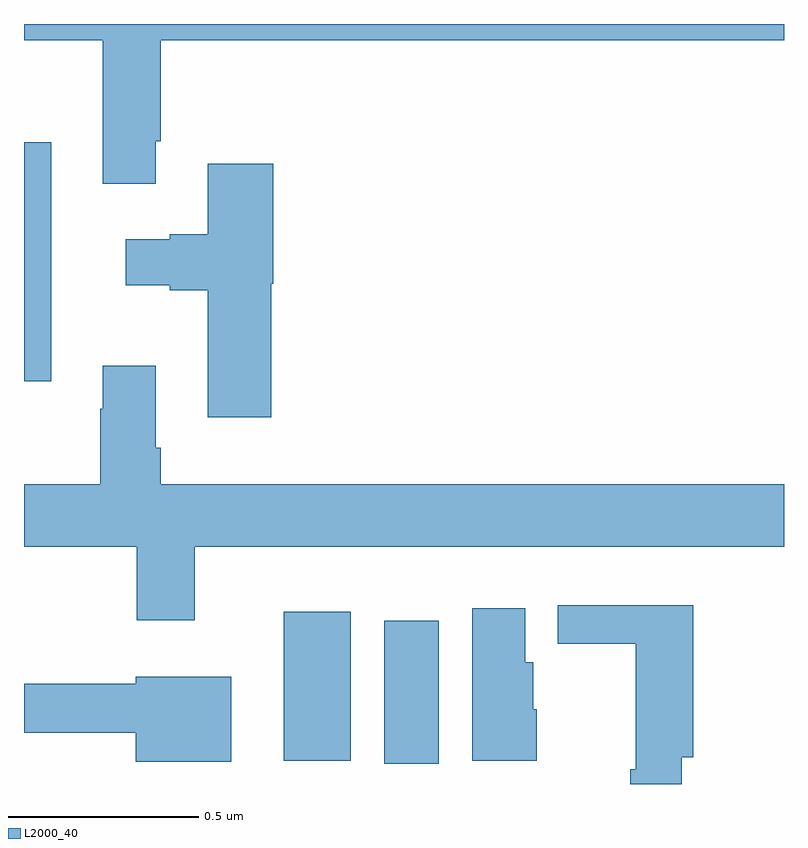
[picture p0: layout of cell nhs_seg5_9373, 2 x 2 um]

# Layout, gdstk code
import gdstk
lib = gdstk.Library(unit=1e-6, precision=1e-09)
def R(c, l, rs):  # rectangles x0, y0, x1, y1
    for r in rs: c.add(gdstk.rectangle(r[:2], r[2:], *l))
def P(c, l, *ps):  # polygons
    for p in ps: c.add(gdstk.Polygon(p, *l))
L2000_40 = (2000, 40)

nhs_seg5_9373 = lib.new_cell('nhs_seg5_9373')
R(nhs_seg5_9373, L2000_40, [(233.948,858.852,234.091,859.228), (233.684,858.86,233.86,859.252), (233,859.859,233.072,860.488)])
P(nhs_seg5_9373, L2000_40, [(235,860.799),(233,860.799),(233,860.756),(233.207,860.756),(233.207,860.379),(233.347,860.379),(233.347,860.491),(233.36,860.491),(233.36,860.756),(235,860.756)],
  [(233.651,860.115),(233.656,860.115),(233.656,860.431),(233.483,860.431),(233.483,860.246),(233.384,860.246),(233.384,860.233),(233.268,860.233),(233.268,860.111),(233.384,860.111),(233.384,860.099),(233.483,860.099),(233.483,859.764),(233.651,859.764)],
  [(233.449,859.424),(235,859.424),(235,859.588),(233.36,859.588),(233.36,859.684),(233.347,859.684),(233.347,859.9),(233.207,859.9),(233.207,859.787),(233.2,859.787),(233.2,859.588),(233,859.588),(233,859.424),(233.297,859.424),(233.297,859.23),(233.449,859.23)],
  [(234.731,858.869),(234.761,858.869),(234.761,859.27),(234.405,859.27),(234.405,859.168),(234.61,859.168),(234.61,858.838),(234.595,858.838),(234.595,858.799),(234.731,858.799)],
  [(234.349,858.996),(234.34,858.996),(234.34,859.119),(234.319,859.119),(234.319,859.261),(234.179,859.261),(234.179,858.86),(234.349,858.86)],
  [(233.545,859.081),(233.294,859.081),(233.294,859.063),(233,859.063),(233,858.934),(233.294,858.934),(233.294,858.857),(233.545,858.857)])

lib.write_gds('nhs_seg5_9373.gds')
